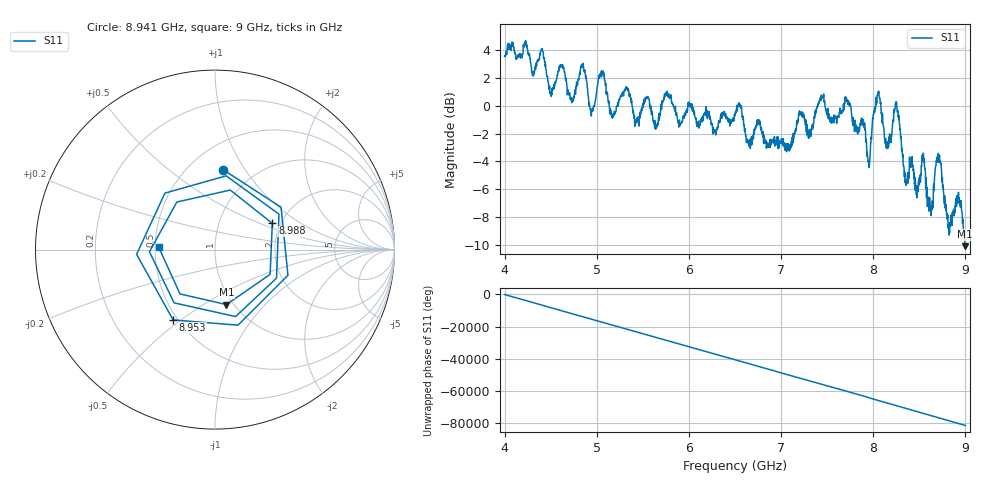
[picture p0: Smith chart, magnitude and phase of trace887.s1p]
! Created with skrf 1.8.0 (http://scikit-rf.org).
# Hz S RI R 50.0
!freq ReS11 ImS11
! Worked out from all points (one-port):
!   1601 points, 4 GHz to 9 GHz, reference 50 ohm
!   lowest |S11| = -10.1 dB at 8.994 GHz (marker M1), VSWR 1.91, Z = 46.5 - j31.6 ohm
!   |S11| at or under -10 dB: 8.993563 GHz to end of sweep
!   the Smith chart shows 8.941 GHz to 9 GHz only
!   S11 on the Smith chart (normalised r, x): 8.941 GHz: 0.72, +0.80; 8.953 GHz: 0.47, -0.47; 8.988 GHz: 1.81, +0.60; 9 GHz: 0.52, +0.02
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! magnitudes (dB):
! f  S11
! 4 GHz  3.5
! 4.406 GHz  4.0
! 4.509 GHz  0.9
! 4.625 GHz  2.9
! 4.725 GHz  0.6
! 4.847 GHz  2.8
! 4.941 GHz  -0.7
! 5.053 GHz  2.5
! 5.25 GHz  0.5
! 5.875 GHz  -0.9
! 6.5 GHz  -0.7
! 7.125 GHz  -2.5
! 7.438 GHz  0.8
! 7.75 GHz  0.1
! 7.95 GHz  -4.0
! 8.05 GHz  0.9
! 8.15 GHz  -3.0
! 8.25 GHz  0.3
! 8.375 GHz  -4.8
! 8.541 GHz  -3.5
! 8.625 GHz  -7.4
! 8.709 GHz  -3.7
! 8.819 GHz  -8.8
! 8.941 GHz  -7.0
! 8.953 GHz  -6.8
! 8.988 GHz  -9.1
! 8.994 GHz  -10.1
! 9 GHz  -10.1
